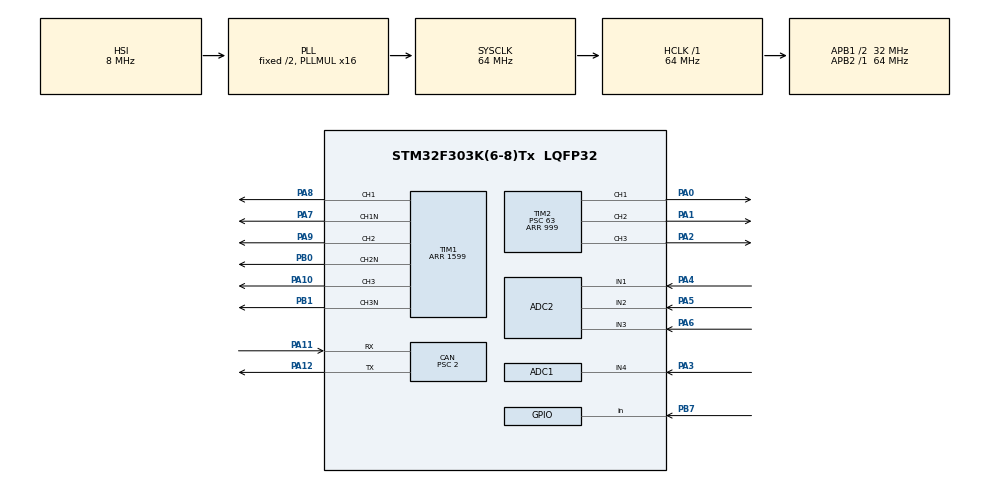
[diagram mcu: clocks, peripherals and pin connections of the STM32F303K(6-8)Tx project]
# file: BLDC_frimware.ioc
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ADC1.Channel-0\#ChannelRegularConversion=ADC_CHANNEL_4
ADC1.NbrOfConversionFlag=1
ADC1.Offset-0\#ChannelRegularConversion=0
ADC1.OffsetNumber-0\#ChannelRegularConversion=ADC_OFFSET_NONE
ADC1.Rank-0\#ChannelRegularConversion=1
ADC1.SamplingTime-0\#ChannelRegularConversion=ADC_SAMPLETIME_19CYCLES_5
ADC1.SamplingTimeOPAMP-0\#ChannelRegularConversion=ADC_SAMPLETIME_7CYCLES_5
ADC1.SubFamily=STM32F303x8
ADC1.master=1
ADC2.Channel-0\#ChannelRegularConversion=ADC_CHANNEL_1
ADC2.NbrOfConversion=1
ADC2.NbrOfConversionFlag=1
ADC2.Offset-0\#ChannelRegularConversion=0
ADC2.OffsetNumber-0\#ChannelRegularConversion=ADC_OFFSET_NONE
ADC2.Rank-0\#ChannelRegularConversion=1
ADC2.SamplingTime-0\#ChannelRegularConversion=ADC_SAMPLETIME_19CYCLES_5
ADC2.SubFamily=STM32F303x8
CAN.ABOM=ENABLE
CAN.BS1=CAN_BS1_13TQ
CAN.BS2=CAN_BS2_2TQ
CAN.CalculateBaudRate=1000000
CAN.CalculateTimeBit=1000
CAN.CalculateTimeQuantum=62.5
CAN.NART=ENABLE
CAN.Prescaler=2
Mcu.Family=STM32F3
Mcu.Name=STM32F303K(6-8)Tx
Mcu.Package=LQFP32
NVIC.CAN_RX0_IRQn=true\:0\:0\:false\:false\:true\:true\:true\:true
NVIC.PriorityGroup=NVIC_PRIORITYGROUP_4
PA0.Signal=S_TIM2_CH1_ETR
PA1.Signal=S_TIM2_CH2
PA10.Signal=S_TIM1_CH3
PA11.Mode=CAN_Activate
PA11.Signal=CAN_RX
PA12.Mode=CAN_Activate
PA12.Signal=CAN_TX
PA13.Mode=Serial_Wire
PA13.Signal=SYS_JTMS-SWDIO
PA14.Mode=Serial_Wire
PA14.Signal=SYS_JTCK-SWCLK
PA2.Signal=S_TIM2_CH3
PA3.Mode=IN4-Single-Ended
PA3.Signal=ADC1_IN4
PA4.Mode=IN1-Single-Ended
PA4.Signal=ADC2_IN1
PA5.Mode=IN2-Single-Ended
PA5.Signal=ADC2_IN2
PA6.Mode=IN3-Single-Ended
PA6.Signal=ADC2_IN3
PA7.Mode=PWM Generation1 CH1 CH1N
PA7.Signal=TIM1_CH1N
PA8.Signal=S_TIM1_CH1
PA9.Signal=S_TIM1_CH2
PB0.Mode=PWM Generation2 CH2 CH2N
PB0.Signal=TIM1_CH2N
PB1.Mode=PWM Generation3 CH3 CH3N
PB1.Signal=TIM1_CH3N
PB7.GPIO_PuPd=GPIO_PULLUP
PB7.Signal=GPIO_Input
ProjectManager.HeapSize=0x200
ProjectManager.StackSize=0x400
ProjectManager.TargetToolchain=CMake
RCC.ADC12PRES=RCC_ADC12PLLCLK_DIV4
RCC.AHBFreq_Value=64000000
RCC.APB1CLKDivider=RCC_HCLK_DIV2
RCC.APB1Freq_Value=32000000
RCC.APB1TimFreq_Value=64000000
RCC.APB2Freq_Value=64000000
RCC.APB2TimFreq_Value=64000000
RCC.CortexFreq_Value=64000000
RCC.HCLKFreq_Value=64000000
RCC.HSE_VALUE=8000000
RCC.HSI_VALUE=8000000
RCC.PLLMUL=RCC_PLL_MUL16
RCC.SYSCLKFreq_VALUE=64000000
RCC.SYSCLKSourceVirtual=RCC_SYSCLKSOURCE_PLLCLK
SH.S_TIM1_CH1.0=TIM1_CH1,PWM Generation1 CH1 CH1N
SH.S_TIM1_CH2.0=TIM1_CH2,PWM Generation2 CH2 CH2N
SH.S_TIM1_CH3.0=TIM1_CH3,PWM Generation3 CH3 CH3N
SH.S_TIM2_CH1_ETR.0=TIM2_CH1,PWM Generation1 CH1
SH.S_TIM2_CH2.0=TIM2_CH2,PWM Generation2 CH2
SH.S_TIM2_CH3.0=TIM2_CH3,PWM Generation3 CH3
TIM1.Channel-PWM\ Generation1\ CH1\ CH1N=TIM_CHANNEL_1
TIM1.Channel-PWM\ Generation2\ CH2\ CH2N=TIM_CHANNEL_2
TIM1.Channel-PWM\ Generation3\ CH3\ CH3N=TIM_CHANNEL_3
TIM1.CounterMode=TIM_COUNTERMODE_CENTERALIGNED1
TIM1.DeadTime=32
TIM1.Period=1599
TIM2.Channel-PWM\ Generation1\ CH1=TIM_CHANNEL_1
TIM2.Channel-PWM\ Generation2\ CH2=TIM_CHANNEL_2
TIM2.Channel-PWM\ Generation3\ CH3=TIM_CHANNEL_3
TIM2.Period=999
TIM2.Prescaler=63
VP_TIM1_VS_ClockSourceINT.Mode=Internal
board=custom

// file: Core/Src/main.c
/* USER CODE BEGIN Header */
/*
 * BLDC モータ制御ファームウェア メイン処理
 *
 * オープンループの正弦波駆動で正転5秒と逆転5秒を交互に繰り返す。
 * 発熱を抑えるため、以下の対策を入れている。
 *   - 周波数に比例して電圧を上げる V/f 制御で低速時の電圧を下げる
 *   - 回転方向の切り替え前後で加減速して突入電流を防ぐ
 *   - 電流センサの値を見て振幅を絞る電流制限 (しきい値を決めるまでは無効)
 *   - エラー発生時は PWM 出力を止めて MOSFET をすべて OFF にする
 */
/* USER CODE END Header */
#include "main.h"

/* USER CODE BEGIN Includes */
#include <math.h>
/* USER CODE END Includes */

/* USER CODE BEGIN PD */
/* TIM1 の自動リロード値 (64MHz センターアライン で 20kHz) */
#define PWM_ARR 1599U

#define PI_F 3.14159265f
#define TWO_PI_F (2.0f * PI_F)

/* クローズドループ定常時の変調振幅 (0.5 で電源電圧いっぱい) */
#define AMP_RUN 0.220f

/* 停止付近で使う最低振幅 */
#define AMP_BOOST 0.035f

/* アライメント時の引き込み振幅 (減速ギアの静止摩擦に打ち勝つ) */
#define ALIGN_AMP 0.080f

/* 正転と逆転の電流バランス微調整 (ラジアン) */
#define ADVANCE_TRIM_RAD 0.06f

/* 片方向あたりの回転時間 [ms] */
#define DIR_PERIOD_MS 5000U

/* 加速と減速にかける時間 [ms] */
#define RAMP_MS 800U

/* 電流制限を使うときは 1 にする current_peak_max
 * を見てしきい値を決めてから有効にする */
#define ENABLE_CURRENT_LIMIT 0

/* 電流制限のしきい値 [ADC カウント] オフセットからの変化量で判定する */
#define CUR_LIMIT_COUNTS 400

/* 電流制限で絞れる振幅倍率の下限 */
#define LIMIT_GAIN_MIN 0.3f

/* 電流オフセット校正のサンプル数 */
#define OFFSET_SAMPLES 64U

/* LED の明るさ (TIM2 の ARR は 999) */
#define LED_DUTY 500U
/* USER CODE END PD */

ADC_HandleTypeDef hadc1;
ADC_HandleTypeDef hadc2;

CAN_HandleTypeDef hcan;

TIM_HandleTypeDef htim1;
TIM_HandleTypeDef htim2;

/* USER CODE BEGIN PV */
/* デバッガで確認するための ADC 生値 */
volatile uint16_t amp_u = 0;
volatile uint16_t amp_v = 0;
volatile uint16_t hall_a = 0;
volatile uint16_t hall_b = 0;

/* 電流ゼロ時の ADC 値 起動時に校正する */
volatile uint16_t offset_u = 2048;
volatile uint16_t offset_v = 2048;

/* 3相のうち最大の電流 [ADC カウント] */
volatile int32_t current_peak = 0;

/* 起動してからの current_peak の最大値 しきい値決めに使う */
volatile int32_t current_peak_max = 0;

/* 電流制限による振幅倍率 1.0 で制限なし */
volatile float limit_gain = 1.0f;

/* センサ校正パラメータ */
volatile float hall_a_center = 1750.0f;
volatile float hall_b_center = 1750.0f;
volatile float sensor_zero_offset = 0.0f;
volatile float sensor_dir = 1.0f;

/* リアルタイムに観測するローター電気角 [rad] */
volatile float rotor_elec_angle = 0.0f;

/* 印加する電圧振幅 */
volatile float cmd_amp = 0.0f;
/* USER CODE END PV */

void SystemClock_Config(void);
static void MX_GPIO_Init(void);
static void MX_ADC2_Init(void);
static void MX_CAN_Init(void);
static void MX_ADC1_Init(void);
static void MX_TIM1_Init(void);
static void MX_TIM2_Init(void);
/* USER CODE BEGIN PFP */
static uint16_t ADC1_Read(void);
static uint16_t ADC2_ReadChannel(uint32_t channel);
static void Calibrate_Current_Offset(void);
static float Speed_Ratio(uint32_t elapsed_ms);
static void Set_Phase_Duty(float theta, float amp);
static void Set_Direction_Led(int8_t dir);
static void Update_Current_Limit(void);
static void DWT_Init(void);
static void Delay_Us(uint32_t us);
static void Play_Beep(uint32_t freq_hz, uint32_t duration_ms, float volume);
static void Play_Startup_Tune(void);
static void Calibrate_Alignment(void);
/* USER CODE END PFP */

int main(void) {

  HAL_Init();

  SystemClock_Config();

  MX_GPIO_Init();
  MX_ADC2_Init();
  MX_CAN_Init();
  MX_ADC1_Init();
  MX_TIM1_Init();
  MX_TIM2_Init();
  /* USER CODE BEGIN 2 */

  /* ADC の自己校正 ADC を有効にする前に行う必要がある */
  HAL_ADCEx_Calibration_Start(&hadc1, ADC_SINGLE_ENDED);
  HAL_ADCEx_Calibration_Start(&hadc2, ADC_SINGLE_ENDED);

  /* PWM を出す前の電流ゼロの状態でオフセットを測る */
  Calibrate_Current_Offset();

  /* LED 用 PWM の開始 CH1 が青 CH2 が赤 CH3 が緑 */
  HAL_TIM_PWM_Start(&htim2, TIM_CHANNEL_1);
  HAL_TIM_PWM_Start(&htim2, TIM_CHANNEL_2);
  HAL_TIM_PWM_Start(&htim2, TIM_CHANNEL_3);

  /* 3相とも 50% から始めて線間電圧ゼロの状態で出力を開始する */
  __HAL_TIM_SET_COMPARE(&htim1, TIM_CHANNEL_1, PWM_ARR / 2U);
  __HAL_TIM_SET_COMPARE(&htim1, TIM_CHANNEL_2, PWM_ARR / 2U);
  __HAL_TIM_SET_COMPARE(&htim1, TIM_CHANNEL_3, PWM_ARR / 2U);

  /* ハイサイドとローサイドの相補 PWM を開始 */
  HAL_TIM_PWM_Start(&htim1, TIM_CHANNEL_1);
  HAL_TIMEx_PWMN_Start(&htim1, TIM_CHANNEL_1);
  HAL_TIM_PWM_Start(&htim1, TIM_CHANNEL_2);
  HAL_TIMEx_PWMN_Start(&htim1, TIM_CHANNEL_2);
  HAL_TIM_PWM_Start(&htim1, TIM_CHANNEL_3);
  HAL_TIMEx_PWMN_Start(&htim1, TIM_CHANNEL_3);

  /* 高精度ウェイト用 DWT カウンタの初期化 */
  DWT_Init();

  /* モーターから起動メロディを鳴らす */
  Play_Startup_Tune();

  /* ローターの初期位置キャリブレーションとセンサ極性自動判定 */
  Calibrate_Alignment();
  /* USER CODE END 2 */

  /* USER CODE BEGIN WHILE */
  int8_t dir = 1; /* 回転方向 1 が正転 -1 が逆転 */
  uint32_t phase_start = HAL_GetTick();
  uint32_t last_tick = phase_start;

  Set_Direction_Led(dir);

  while (1) {
    /* USER CODE END WHILE */

    /* USER CODE BEGIN 3 */
    /* 1. エンコーダ (HALL_A, HALL_B) からローターの現在電気角を計算 */
    hall_a = ADC2_ReadChannel(ADC_CHANNEL_2);
    hall_b = ADC2_ReadChannel(ADC_CHANNEL_3);

    float sa = (float)hall_a - hall_a_center;
    float sb = (float)hall_b - hall_b_center;
    float raw_angle = atan2f(sb, sa);

    /* ゼロ点補正と回転方向を反映したローター電気角 */
    float theta_rotor = (raw_angle - sensor_zero_offset) * sensor_dir;
    rotor_elec_angle = theta_rotor;

    /* 2. 1ms ごとのタイマ処理 (加減速・5秒ごとの反転・電流計測) */
    uint32_t now = HAL_GetTick();
    if (now != last_tick) {
      last_tick = now;

      /* 5秒たったら回転方向を反転する */
      uint32_t elapsed = now - phase_start;
      if (elapsed >= DIR_PERIOD_MS) {
        dir = (int8_t)-dir;
        phase_start = now;
        elapsed = 0;
        Set_Direction_Led(dir);
      }

      /* 加減速を含めた速度比から印加電圧振幅を決定 */
      float ratio = Speed_Ratio(elapsed);
      cmd_amp = (AMP_BOOST + (AMP_RUN - AMP_BOOST) * ratio) * limit_gain;

      /* 電流の読み取りと過電流監視 */
      amp_u = ADC1_Read();
      amp_v = ADC2_ReadChannel(ADC_CHANNEL_1);
      Update_Current_Limit();
    }

    /* 3. ローター磁極に対して 90 度進んだ位相に電圧を印加 (クローズドループ駆動) */
    float lead_angle = (dir > 0) ? (PI_F / 2.0f) : -(PI_F / 2.0f);
    float theta_v = theta_rotor + lead_angle + ADVANCE_TRIM_RAD;

    /* 3相 PWM を即時更新 */
    Set_Phase_Duty(theta_v, cmd_amp);
  }
  /* USER CODE END 3 */
}

/* システムクロック設定 HSI と PLL で 64MHz */
void SystemClock_Config(void) {
  RCC_OscInitTypeDef RCC_OscInitStruct = {0};
  RCC_ClkInitTypeDef RCC_ClkInitStruct = {0};
  RCC_PeriphCLKInitTypeDef PeriphClkInit = {0};

  RCC_OscInitStruct.OscillatorType = RCC_OSCILLATORTYPE_HSI;
  RCC_OscInitStruct.HSIState = RCC_HSI_ON;
  RCC_OscInitStruct.HSICalibrationValue = RCC_HSICALIBRATION_DEFAULT;
  RCC_OscInitStruct.PLL.PLLState = RCC_PLL_ON;
  RCC_OscInitStruct.PLL.PLLSource = RCC_PLLSOURCE_HSI;
  RCC_OscInitStruct.PLL.PLLMUL = RCC_PLL_MUL16;
  if (HAL_RCC_OscConfig(&RCC_OscInitStruct) != HAL_OK) {
    Error_Handler();
  }

  RCC_ClkInitStruct.ClockType = RCC_CLOCKTYPE_HCLK | RCC_CLOCKTYPE_SYSCLK |
                                RCC_CLOCKTYPE_PCLK1 | RCC_CLOCKTYPE_PCLK2;
  RCC_ClkInitStruct.SYSCLKSource = RCC_SYSCLKSOURCE_PLLCLK;
  RCC_ClkInitStruct.AHBCLKDivider = RCC_SYSCLK_DIV1;
  RCC_ClkInitStruct.APB1CLKDivider = RCC_HCLK_DIV2;
  RCC_ClkInitStruct.APB2CLKDivider = RCC_HCLK_DIV1;

  if (HAL_RCC_ClockConfig(&RCC_ClkInitStruct, FLASH_LATENCY_2) != HAL_OK) {
    Error_Handler();
  }
  PeriphClkInit.PeriphClockSelection = RCC_PERIPHCLK_TIM1 | RCC_PERIPHCLK_ADC12;
  PeriphClkInit.Adc12ClockSelection = RCC_ADC12PLLCLK_DIV4;
  PeriphClkInit.Tim1ClockSelection = RCC_TIM1CLK_HCLK;
  if (HAL_RCCEx_PeriphCLKConfig(&PeriphClkInit) != HAL_OK) {
    Error_Handler();
  }
}

/* ADC1 初期化 PA3 の U相電流を読む */
static void MX_ADC1_Init(void) {

  ADC_MultiModeTypeDef multimode = {0};
  ADC_ChannelConfTypeDef sConfig = {0};

  hadc1.Instance = ADC1;
  hadc1.Init.ClockPrescaler = ADC_CLOCK_ASYNC_DIV1;
  hadc1.Init.Resolution = ADC_RESOLUTION_12B;
  hadc1.Init.ScanConvMode = ADC_SCAN_DISABLE;
  hadc1.Init.ContinuousConvMode = DISABLE;
  hadc1.Init.DiscontinuousConvMode = DISABLE;
  hadc1.Init.ExternalTrigConvEdge = ADC_EXTERNALTRIGCONVEDGE_NONE;
  hadc1.Init.ExternalTrigConv = ADC_SOFTWARE_START;
  hadc1.Init.DataAlign = ADC_DATAALIGN_RIGHT;
  hadc1.Init.NbrOfConversion = 1;
  hadc1.Init.DMAContinuousRequests = DISABLE;
  hadc1.Init.EOCSelection = ADC_EOC_SINGLE_CONV;
  hadc1.Init.LowPowerAutoWait = DISABLE;
  hadc1.Init.Overrun = ADC_OVR_DATA_OVERWRITTEN;
  if (HAL_ADC_Init(&hadc1) != HAL_OK) {
    Error_Handler();
  }

  multimode.Mode = ADC_MODE_INDEPENDENT;
  if (HAL_ADCEx_MultiModeConfigChannel(&hadc1, &multimode) != HAL_OK) {
    Error_Handler();
  }

  sConfig.Channel = ADC_CHANNEL_4;
  sConfig.Rank = ADC_REGULAR_RANK_1;
  sConfig.SingleDiff = ADC_SINGLE_ENDED;
  sConfig.SamplingTime = ADC_SAMPLETIME_19CYCLES_5;
  sConfig.OffsetNumber = ADC_OFFSET_NONE;
  sConfig.Offset = 0;
  if (HAL_ADC_ConfigChannel(&hadc1, &sConfig) != HAL_OK) {
    Error_Handler();
  }
}

/* ADC2 初期化 V相電流とホールセンサを切り替えて読む */
static void MX_ADC2_Init(void) {

  ADC_ChannelConfTypeDef sConfig = {0};

  hadc2.Instance = ADC2;
  hadc2.Init.ClockPrescaler = ADC_CLOCK_ASYNC_DIV1;
  hadc2.Init.Resolution = ADC_RESOLUTION_12B;
  hadc2.Init.ScanConvMode = ADC_SCAN_DISABLE;
  hadc2.Init.ContinuousConvMode = DISABLE;
  hadc2.Init.DiscontinuousConvMode = DISABLE;
  hadc2.Init.ExternalTrigConvEdge = ADC_EXTERNALTRIGCONVEDGE_NONE;
  hadc2.Init.ExternalTrigConv = ADC_SOFTWARE_START;
  hadc2.Init.DataAlign = ADC_DATAALIGN_RIGHT;
  hadc2.Init.NbrOfConversion = 1;
  hadc2.Init.DMAContinuousRequests = DISABLE;
  hadc2.Init.EOCSelection = ADC_EOC_SINGLE_CONV;
  hadc2.Init.LowPowerAutoWait = DISABLE;
  hadc2.Init.Overrun = ADC_OVR_DATA_OVERWRITTEN;
  if (HAL_ADC_Init(&hadc2) != HAL_OK) {
    Error_Handler();
  }

  sConfig.Channel = ADC_CHANNEL_1;
  sConfig.Rank = ADC_REGULAR_RANK_1;
  sConfig.SingleDiff = ADC_SINGLE_ENDED;
  sConfig.SamplingTime = ADC_SAMPLETIME_19CYCLES_5;
  sConfig.OffsetNumber = ADC_OFFSET_NONE;
  sConfig.Offset = 0;
  if (HAL_ADC_ConfigChannel(&hadc2, &sConfig) != HAL_OK) {
    Error_Handler();
  }
}

/* CAN 初期化 */
static void MX_CAN_Init(void) {

  hcan.Instance = CAN;
  hcan.Init.Prescaler = 2;
  hcan.Init.Mode = CAN_MODE_NORMAL;
  hcan.Init.SyncJumpWidth = CAN_SJW_1TQ;
  hcan.Init.TimeSeg1 = CAN_BS1_13TQ;
  hcan.Init.TimeSeg2 = CAN_BS2_2TQ;
  hcan.Init.TimeTriggeredMode = DISABLE;
  hcan.Init.AutoBusOff = ENABLE;
  hcan.Init.AutoWakeUp = DISABLE;
  hcan.Init.AutoRetransmission = ENABLE;
  hcan.Init.ReceiveFifoLocked = DISABLE;
  hcan.Init.TransmitFifoPriority = DISABLE;
  if (HAL_CAN_Init(&hcan) != HAL_OK) {
    Error_Handler();
  }
}

/* TIM1 初期化 モータ駆動用の3相相補 PWM */
static void MX_TIM1_Init(void) {

  TIM_ClockConfigTypeDef sClockSourceConfig = {0};
  TIM_MasterConfigTypeDef sMasterConfig = {0};
  TIM_OC_InitTypeDef sConfigOC = {0};
  TIM_BreakDeadTimeConfigTypeDef sBreakDeadTimeConfig = {0};

  htim1.Instance = TIM1;
  htim1.Init.Prescaler = 0;
  htim1.Init.CounterMode = TIM_COUNTERMODE_CENTERALIGNED1;
  htim1.Init.Period = 1599;
  htim1.Init.ClockDivision = TIM_CLOCKDIVISION_DIV1;
  htim1.Init.RepetitionCounter = 0;
  htim1.Init.AutoReloadPreload = TIM_AUTORELOAD_PRELOAD_DISABLE;
  if (HAL_TIM_Base_Init(&htim1) != HAL_OK) {
    Error_Handler();
  }
  sClockSourceConfig.ClockSource = TIM_CLOCKSOURCE_INTERNAL;
  if (HAL_TIM_ConfigClockSource(&htim1, &sClockSourceConfig) != HAL_OK) {
    Error_Handler();
  }
  if (HAL_TIM_PWM_Init(&htim1) != HAL_OK) {
    Error_Handler();
  }
  sMasterConfig.MasterOutputTrigger = TIM_TRGO_RESET;
  sMasterConfig.MasterOutputTrigger2 = TIM_TRGO2_RESET;
  sMasterConfig.MasterSlaveMode = TIM_MASTERSLAVEMODE_DISABLE;
  if (HAL_TIMEx_MasterConfigSynchronization(&htim1, &sMasterConfig) != HAL_OK) {
    Error_Handler();
  }
  sConfigOC.OCMode = TIM_OCMODE_PWM1;
  sConfigOC.Pulse = 0;
  sConfigOC.OCPolarity = TIM_OCPOLARITY_HIGH;
  sConfigOC.OCNPolarity = TIM_OCNPOLARITY_HIGH;
  sConfigOC.OCFastMode = TIM_OCFAST_DISABLE;
  sConfigOC.OCIdleState = TIM_OCIDLESTATE_RESET;
  sConfigOC.OCNIdleState = TIM_OCNIDLESTATE_RESET;
  if (HAL_TIM_PWM_ConfigChannel(&htim1, &sConfigOC, TIM_CHANNEL_1) != HAL_OK) {
    Error_Handler();
  }
  if (HAL_TIM_PWM_ConfigChannel(&htim1, &sConfigOC, TIM_CHANNEL_2) != HAL_OK) {
    Error_Handler();
  }
  if (HAL_TIM_PWM_ConfigChannel(&htim1, &sConfigOC, TIM_CHANNEL_3) != HAL_OK) {
    Error_Handler();
  }
  sBreakDeadTimeConfig.OffStateRunMode = TIM_OSSR_DISABLE;
  sBreakDeadTimeConfig.OffStateIDLEMode = TIM_OSSI_DISABLE;
  sBreakDeadTimeConfig.LockLevel = TIM_LOCKLEVEL_OFF;
  sBreakDeadTimeConfig.DeadTime = 32;
  sBreakDeadTimeConfig.BreakState = TIM_BREAK_DISABLE;
  sBreakDeadTimeConfig.BreakPolarity = TIM_BREAKPOLARITY_HIGH;
  sBreakDeadTimeConfig.BreakFilter = 0;
  sBreakDeadTimeConfig.Break2State = TIM_BREAK2_DISABLE;
  sBreakDeadTimeConfig.Break2Polarity = TIM_BREAK2POLARITY_HIGH;
  sBreakDeadTimeConfig.Break2Filter = 0;
  sBreakDeadTimeConfig.AutomaticOutput = TIM_AUTOMATICOUTPUT_DISABLE;
  if (HAL_TIMEx_ConfigBreakDeadTime(&htim1, &sBreakDeadTimeConfig) != HAL_OK) {
    Error_Handler();
  }
  HAL_TIM_MspPostInit(&htim1);
}

/* TIM2 初期化 フルカラー LED 用 PWM */
static void MX_TIM2_Init(void) {

  TIM_MasterConfigTypeDef sMasterConfig = {0};
  TIM_OC_InitTypeDef sConfigOC = {0};

  htim2.Instance = TIM2;
  htim2.Init.Prescaler = 63;
  htim2.Init.CounterMode = TIM_COUNTERMODE_UP;
  htim2.Init.Period = 999;
  htim2.Init.ClockDivision = TIM_CLOCKDIVISION_DIV1;
  htim2.Init.AutoReloadPreload = TIM_AUTORELOAD_PRELOAD_DISABLE;
  if (HAL_TIM_PWM_Init(&htim2) != HAL_OK) {
    Error_Handler();
  }
  sMasterConfig.MasterOutputTrigger = TIM_TRGO_RESET;
  sMasterConfig.MasterSlaveMode = TIM_MASTERSLAVEMODE_DISABLE;
  if (HAL_TIMEx_MasterConfigSynchronization(&htim2, &sMasterConfig) != HAL_OK) {
    Error_Handler();
  }
  sConfigOC.OCMode = TIM_OCMODE_PWM1;
  sConfigOC.Pulse = 0;
  sConfigOC.OCPolarity = TIM_OCPOLARITY_HIGH;
  sConfigOC.OCFastMode = TIM_OCFAST_DISABLE;
  if (HAL_TIM_PWM_ConfigChannel(&htim2, &sConfigOC, TIM_CHANNEL_1) != HAL_OK) {
    Error_Handler();
  }
  if (HAL_TIM_PWM_ConfigChannel(&htim2, &sConfigOC, TIM_CHANNEL_2) != HAL_OK) {
    Error_Handler();
  }
  if (HAL_TIM_PWM_ConfigChannel(&htim2, &sConfigOC, TIM_CHANNEL_3) != HAL_OK) {
    Error_Handler();
  }
  HAL_TIM_MspPostInit(&htim2);
}

/* GPIO 初期化 */
static void MX_GPIO_Init(void) {
  GPIO_InitTypeDef GPIO_InitStruct = {0};

  __HAL_RCC_GPIOA_CLK_ENABLE();
  __HAL_RCC_GPIOB_CLK_ENABLE();

  GPIO_InitStruct.Pin = GPIO_PIN_7;
  GPIO_InitStruct.Mode = GPIO_MODE_INPUT;
  GPIO_InitStruct.Pull = GPIO_PULLUP;
  HAL_GPIO_Init(GPIOB, &GPIO_InitStruct);

}

/* USER CODE BEGIN 4 */

/* ADC1 で U相電流を1回読む */
static uint16_t ADC1_Read(void) {
  HAL_ADC_Start(&hadc1);
  if (HAL_ADC_PollForConversion(&hadc1, 10) != HAL_OK) {
    Error_Handler();
  }
  uint16_t value = (uint16_t)HAL_ADC_GetValue(&hadc1);
  HAL_ADC_Stop(&hadc1);
  return value;
}

/* ADC2 のチャンネルを切り替えて1回読む */
static uint16_t ADC2_ReadChannel(uint32_t channel) {
  ADC_ChannelConfTypeDef sConfig = {0};

  HAL_ADC_Stop(&hadc2);

  sConfig.Channel = channel;
  sConfig.Rank = ADC_REGULAR_RANK_1;
  sConfig.SingleDiff = ADC_SINGLE_ENDED;
  sConfig.SamplingTime = ADC_SAMPLETIME_19CYCLES_5;
  sConfig.OffsetNumber = ADC_OFFSET_NONE;
  sConfig.Offset = 0;

  if (HAL_ADC_ConfigChannel(&hadc2, &sConfig) != HAL_OK) {
    Error_Handler();
  }

  HAL_ADC_Start(&hadc2);

  if (HAL_ADC_PollForConversion(&hadc2, 10) != HAL_OK) {
    Error_Handler();
  }

  uint16_t value = (uint16_t)HAL_ADC_GetValue(&hadc2);

  HAL_ADC_Stop(&hadc2);

  return value;
}

/* モータに電流が流れていない状態で電流センサのゼロ点を測る */
static void Calibrate_Current_Offset(void) {
  uint32_t sum_u = 0;
  uint32_t sum_v = 0;

  for (uint32_t i = 0; i < OFFSET_SAMPLES; i++) {
    sum_u += ADC1_Read();
    sum_v += ADC2_ReadChannel(ADC_CHANNEL_1);
  }

  offset_u = (uint16_t)(sum_u / OFFSET_SAMPLES);
  offset_v = (uint16_t)(sum_v / OFFSET_SAMPLES);
}

/*
 * 回転開始からの経過時間に応じた速度比を返す
 * 最初の RAMP_MS で 0 から 1 まで加速し、最後の RAMP_MS で 0 まで減速する
 */
static float Speed_Ratio(uint32_t elapsed_ms) {
  if (elapsed_ms < RAMP_MS) {
    return (float)elapsed_ms / (float)RAMP_MS;
  }
  if (elapsed_ms > DIR_PERIOD_MS - RAMP_MS) {
    return (float)(DIR_PERIOD_MS - elapsed_ms) / (float)RAMP_MS;
  }
  return 1.0f;
}

/* 電気角と振幅から3相の PWM デューティを設定する */
static void Set_Phase_Duty(float theta, float amp) {
  float du = 0.5f + amp * sinf(theta);
  float dv = 0.5f + amp * sinf(theta - TWO_PI_F / 3.0f);
  float dw = 0.5f + amp * sinf(theta + TWO_PI_F / 3.0f);

  if (du < 0.0f) du = 0.0f; else if (du > 1.0f) du = 1.0f;
  if (dv < 0.0f) dv = 0.0f; else if (dv > 1.0f) dv = 1.0f;
  if (dw < 0.0f) dw = 0.0f; else if (dw > 1.0f) dw = 1.0f;

  __HAL_TIM_SET_COMPARE(&htim1, TIM_CHANNEL_1, (uint32_t)(du * PWM_ARR));
  __HAL_TIM_SET_COMPARE(&htim1, TIM_CHANNEL_2, (uint32_t)(dv * PWM_ARR));
  __HAL_TIM_SET_COMPARE(&htim1, TIM_CHANNEL_3, (uint32_t)(dw * PWM_ARR));
}

/* 回転方向を LED で表示する 正転は赤 逆転は青 */
static void Set_Direction_Led(int8_t dir) {
  if (dir > 0) {
    __HAL_TIM_SET_COMPARE(&htim2, TIM_CHANNEL_1, 0);
    __HAL_TIM_SET_COMPARE(&htim2, TIM_CHANNEL_2, LED_DUTY);
  } else {
    __HAL_TIM_SET_COMPARE(&htim2, TIM_CHANNEL_1, LED_DUTY);
    __HAL_TIM_SET_COMPARE(&htim2, TIM_CHANNEL_2, 0);
  }
  __HAL_TIM_SET_COMPARE(&htim2, TIM_CHANNEL_3, 0);
}

/*
 * 電流が流れすぎていたら振幅倍率を下げ、収まっていればゆっくり戻す
 * W相は U相と V相の和の符号反転で求める
 */
static void Update_Current_Limit(void) {
  int32_t iu = (int32_t)amp_u - (int32_t)offset_u;
  int32_t iv = (int32_t)amp_v - (int32_t)offset_v;
  int32_t iw = -(iu + iv);

  int32_t peak = (iu < 0) ? -iu : iu;
  int32_t abs_v = (iv < 0) ? -iv : iv;
  int32_t abs_w = (iw < 0) ? -iw : iw;
  if (abs_v > peak) {
    peak = abs_v;
  }
  if (abs_w > peak) {
    peak = abs_w;
  }
  current_peak = peak;
  if (peak > current_peak_max) {
    current_peak_max = peak;
  }

#if ENABLE_CURRENT_LIMIT
  float gain = limit_gain;
  if (peak > CUR_LIMIT_COUNTS) {
    gain -= 0.02f;
    if (gain < LIMIT_GAIN_MIN) {
      gain = LIMIT_GAIN_MIN;
    }
  } else if (gain < 1.0f) {
    gain += 0.002f;
    if (gain > 1.0f) {
      gain = 1.0f;
    }
  }
  limit_gain = gain;
#endif
}

/* DWT サイクルカウンタを有効にする */
static void DWT_Init(void) {
  CoreDebug->DEMCR |= CoreDebug_DEMCR_TRCENA_Msk;
  DWT->CTRL |= DWT_CTRL_CYCCNTENA_Msk;
}

/* マイクロ秒単位の待機 */
static void Delay_Us(uint32_t us) {
  uint32_t start = DWT->CYCCNT;
  uint32_t cycles = us * (SystemCoreClock / 1000000U);
  while ((DWT->CYCCNT - start) < cycles) {
  }
}

/* モーターのコイルを高周波で振動させて音を鳴らす */
static void Play_Beep(uint32_t freq_hz, uint32_t duration_ms, float volume) {
  if (freq_hz == 0 || volume <= 0.0f) {
    Set_Phase_Duty(0.0f, 0.0f);
    HAL_Delay(duration_ms);
    return;
  }
  uint32_t half_period_us = 500000U / freq_hz;
  uint32_t cycles = (duration_ms * 1000U) / (half_period_us * 2U);
  for (uint32_t i = 0; i < cycles; i++) {
    Set_Phase_Duty(0.0f, volume);
    Delay_Us(half_period_us);
    Set_Phase_Duty(PI_F, volume);
    Delay_Us(half_period_us);
  }
  Set_Phase_Duty(0.0f, 0.0f);
}

/* 起動時の確認メロディ (ド・ミ・ソ・高ド) */
static void Play_Startup_Tune(void) {
  Play_Beep(1046, 100, 0.02f);
  HAL_Delay(20);
  Play_Beep(1318, 100, 0.02f);
  HAL_Delay(20);
  Play_Beep(1568, 100, 0.02f);
  HAL_Delay(20);
  Play_Beep(2093, 180, 0.025f);
  HAL_Delay(100);
}

/* ローターの初期位置キャリブレーションとセンサ極性自動判定 (両方向引き込みで摩擦相殺) */
static void Calibrate_Alignment(void) {
  /* LED を緑色に点灯してキャリブレーション中を示す */
  __HAL_TIM_SET_COMPARE(&htim2, TIM_CHANNEL_1, 0);
  __HAL_TIM_SET_COMPARE(&htim2, TIM_CHANNEL_2, 0);
  __HAL_TIM_SET_COMPARE(&htim2, TIM_CHANNEL_3, LED_DUTY);

  /* 1. 電気角 +60 度から 0 度へ引き込み (正転側からのアライメント) */
  Set_Phase_Duty(PI_F / 3.0f, ALIGN_AMP);
  HAL_Delay(300);
  Set_Phase_Duty(0.0f, ALIGN_AMP);
  HAL_Delay(500);

  uint32_t sum_a = 0;
  uint32_t sum_b = 0;
  for (int i = 0; i < 32; i++) {
    sum_a += ADC2_ReadChannel(ADC_CHANNEL_2);
    sum_b += ADC2_ReadChannel(ADC_CHANNEL_3);
  }
  float a_pos = (float)(sum_a / 32U) - hall_a_center;
  float b_pos = (float)(sum_b / 32U) - hall_b_center;
  float ang0 = atan2f(b_pos, a_pos);

  /* 2. 電気角 +60 度へ動かしてセンサの回転方向を自動判定 */
  Set_Phase_Duty(PI_F / 3.0f, ALIGN_AMP);
  HAL_Delay(300);

  sum_a = 0;
  sum_b = 0;
  for (int i = 0; i < 32; i++) {
    sum_a += ADC2_ReadChannel(ADC_CHANNEL_2);
    sum_b += ADC2_ReadChannel(ADC_CHANNEL_3);
  }
  float a1 = (float)(sum_a / 32U) - hall_a_center;
  float b1 = (float)(sum_b / 32U) - hall_b_center;
  float ang1 = atan2f(b1, a1);

  /* 角度変化の差分からセンサ極性を判定 */
  float diff = ang1 - ang0;
  if (diff < -PI_F)
    diff += TWO_PI_F;
  if (diff > PI_F)
    diff -= TWO_PI_F;
  sensor_dir = (diff >= 0.0f) ? 1.0f : -1.0f;

  /* 3. 電気角 -60 度から 0 度へ引き込み (逆転側からのアライメント) */
  Set_Phase_Duty(-PI_F / 3.0f, ALIGN_AMP);
  HAL_Delay(300);
  Set_Phase_Duty(0.0f, ALIGN_AMP);
  HAL_Delay(500);

  sum_a = 0;
  sum_b = 0;
  for (int i = 0; i < 32; i++) {
    sum_a += ADC2_ReadChannel(ADC_CHANNEL_2);
    sum_b += ADC2_ReadChannel(ADC_CHANNEL_3);
  }
  float a_neg = (float)(sum_a / 32U) - hall_a_center;
  float b_neg = (float)(sum_b / 32U) - hall_b_center;

  /* 正転側と逆転側のベクトル合成平均でギアの静止摩擦を相殺 */
  sensor_zero_offset = atan2f(b_pos + b_neg, a_pos + a_neg);

  /* アライメント完了音 (ピッ、ピッ) */
  Play_Beep(2500, 80, 0.02f);
  HAL_Delay(50);
  Play_Beep(2500, 80, 0.02f);
  HAL_Delay(150);
}

/* USER CODE END 4 */

/* エラー発生時の処理 */
void Error_Handler(void) {
  /* USER CODE BEGIN Error_Handler_Debug */
  /* PWM 出力を止めて MOSFET をすべて OFF にし、過熱を防ぐ */
  TIM1->BDTR &= ~TIM_BDTR_MOE;
  __disable_irq();
  while (1) {
  }
  /* USER CODE END Error_Handler_Debug */
}
